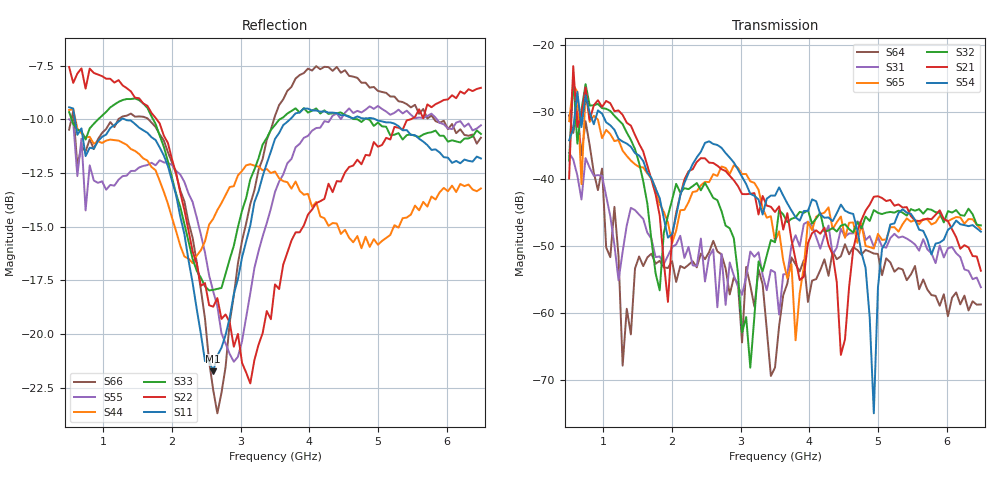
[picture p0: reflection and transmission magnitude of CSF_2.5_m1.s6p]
!Keysight Technologies,M9804A,MY58100912,A.14.10.03
!Date: Thursday, April 27, 2023 10:28:33
!Correction: S11(C  6-Port  )
!S12(C  6-Port  )
!S13(C  6-Port  )
!S14(C  6-Port  )
!S15(C  6-Port  )
!S16(C  6-Port  )
!S21(C  6-Port  )
!S22(C  6-Port  )
!S23(C  6-Port  )
!S24(C  6-Port  )
!S25(C  6-Port  )
!S26(C  6-Port  )
!S31(C  6-Port  )
!S32(C  6-Port  )
!S33(C  6-Port  )
!S34(C  6-Port  )
!S35(C  6-Port  )
!S36(C  6-Port  )
!S41(C  6-Port  )
!S42(C  6-Port  )
!S43(C  6-Port  )
!S44(C  6-Port  )
!S45(C  6-Port  )
!S46(C  6-Port  )
!S51(C  6-Port  )
!S52(C  6-Port  )
!S53(C  6-Port  )
!S54(C  6-Port  )
!S55(C  6-Port  )
!S56(C  6-Port  )
!S61(C  6-Port  )
!S62(C  6-Port  )
!S63(C  6-Port  )
!S64(C  6-Port  )
!S65(C  6-Port  )
!S66(C  6-Port  )
!S6P File: Measurement: :
# Hz S  RI  R 50
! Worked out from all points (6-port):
!   101 points, 500 MHz to 6.5 GHz, reference 50 ohm
!   strongest paths, dB at 500 MHz, 2 GHz, 3.5 GHz, 5 GHz, 6.5 GHz:
!     S54: -34.2, -48.2, -42.5, -56.2, -47.9
!     S21: -39.9, -48.6, -44.9, -42.6, -53.7
!     S32: -37.2, -43.1, -49.4, -45.0, -46.9
!     S65: -31.3, -49.6, -49.3, -48.2, -47.5
!     S31: -36.1, -50.2, -53.9, -48.7, -56.2
!     S64: -30.5, -52.3, -68.2, -51.2, -58.7
!   lowest |S11| = -21.7 dB at 2.6 GHz (marker M1), VSWR 1.18, Z = 42.7 + j1.97 ohm
!   |S11| at or under -10 dB: 585 MHz to 1.26 GHz (675.1 MHz wide, 73.2 % of centre); 1.316 GHz to 3.716 GHz (2.401 GHz wide, 95.4 % of centre); 4.967 GHz to end of sweep
